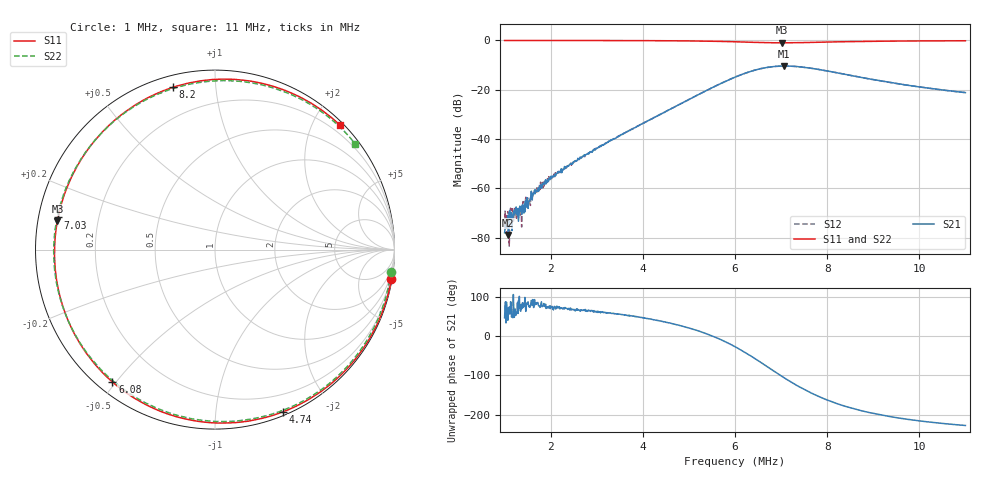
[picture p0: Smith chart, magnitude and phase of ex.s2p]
# MHz S DB R 50
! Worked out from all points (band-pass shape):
!   1001 points, 1 MHz to 11 MHz, reference 50 ohm
!   highest |S21| = -10.40 dB at 7.07 MHz (marker M1); lowest = -79.0 dB at 1.08 MHz (marker M2)
!   |S21| within 3 dB of the highest: 6.206 MHz to 8.284 MHz (2.078 MHz wide, 28.7 % of centre)
!   lowest |S11| = -1.0 dB at 7.01 MHz (marker M3), VSWR 17.58, Z = 2.87 + j4.47 ohm
!   |S11| at or under -10 dB: nowhere
!   |S22| runs from -0.9 to -0.1 dB; largest |S21 - S12| = 0.0041
!   S11 on the Smith chart (normalised r, x): 1 MHz: 0, -12; 4.74 MHz: 0.03, -1.50; 6.08 MHz: 0.04, -0.49; 7.03 MHz: 0.06, +0.10; 8.2 MHz: 0.05, +0.77; 11 MHz: 0.06, +2.43
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1  -0.03 -9.6  -78.05 46.3  -75.90 7.7  -0.11 -7.3
1.08  -0.03 -10.3  -78.97 71.9  -70.51 46.9  -0.11 -7.8
1.24  -0.03 -11.8  -69.75 53.1  -69.58 77.1  -0.11 -9.0
1.33  -0.03 -12.7  -67.24 70.9  -67.87 76.4  -0.10 -9.6
1.43  -0.03 -13.6  -66.63 75.0  -67.05 85.7  -0.11 -10.3
1.81  -0.04 -17.4  -59.63 74.8  -58.69 69.5  -0.11 -13.1
2.67  -0.07 -27.2  -47.68 66.3  -47.33 67.7  -0.12 -20.7
4.34  -0.13 -56.4  -30.41 39.1  -30.38 38.4  -0.15 -43.8
4.74  -0.18 -67.4  -26.50 28.6  -26.52 27.8  -0.19 -53.3
5.46  -0.33 -94.4  -19.60 2.1  -19.61 1.5  -0.31 -78.5
6  -0.56 -122.9  -14.91 -27.1  -14.91 -27.9  -0.52 -108.9
6.08  -0.60 -127.8  -14.30 -32.4  -14.31 -33.1  -0.56 -114.5
6.6  -0.89 -162.2  -11.30 -70.2  -11.30 -71.0  -0.85 -157.5
7.01  -0.99 169.8  -10.42 -102.1  -10.43 -102.8  -0.94 165.2
7.03  -0.99 168.4  -10.42 -103.6  -10.42 -104.3  -0.94 163.4
7.07  -0.99 165.8  -10.40 -106.6  -10.41 -107.3  -0.94 160.0
7.37  -0.93 146.7  -10.66 -127.6  -10.66 -128.4  -0.86 135.8
7.67  -0.81 129.5  -11.35 -146.0  -11.35 -146.8  -0.74 115.5
8.2  -0.59 104.6  -13.10 -171.5  -13.10 -172.2  -0.53 89.1
8.73  -0.43 85.8  -14.98 170.3  -14.99 169.6  -0.39 71.3
9.34  -0.30 70.1  -17.00 155.5  -17.01 154.8  -0.29 57.5
11  -0.15 44.7  -21.20 132.4  -21.20 131.6  -0.19 37.1
